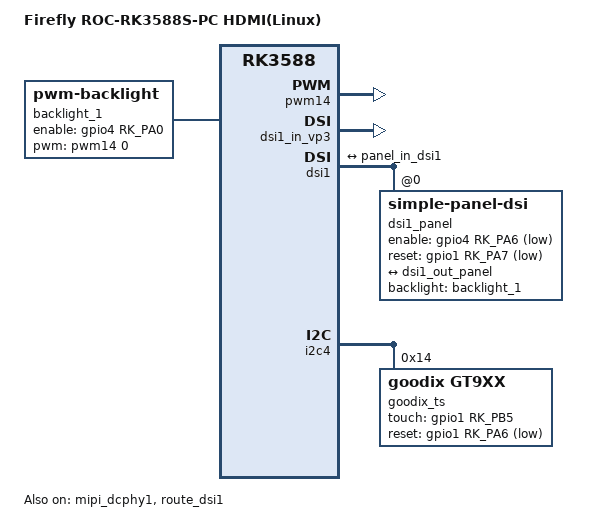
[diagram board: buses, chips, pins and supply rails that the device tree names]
// SPDX-License-Identifier: (GPL-2.0+ OR MIT)
/*
 * Copyright (c) 2021 Rockchip Electronics Co., Ltd.
 *
 */

/dts-v1/;

#include "roc-rk3588s-pc.dtsi"
#include "rk3588-roc-pc-cam-8ms1m.dtsi"
#define WHICHDSI 1 /* dsi0 = 0,dsi1 = 1*/

&fan {
    cooling-levels = <1 128 192 255>;
};


/ {
	model = "Firefly ROC-RK3588S-PC HDMI(Linux)";
	compatible = "rockchip,roc-rk3588s-pc", "rockchip,rk3588";

#if WHICHDSI     
    backlight_1: backlight-1 {
        status = "okay";
        compatible = "pwm-backlight";
        enable-gpios = <&gpio4 RK_PA0 GPIO_ACTIVE_HIGH>;
        pwms = <&pwm14 0 50000 1>;
        brightness-levels = <
             60  60  60  61  61  61  62  62
             62  63  63  63  64  64  64  65
             65  65  66  66  66  67  67  67
             68  68  68  69  69  69  70  70
             70  71  71  71  72  72  72  73
             73  73  74  74  74  75  75  75
             76  76  76  77  77  77  78  78
             78  79  79  79  80  80  80  81
             81  81  82  82  82  83  83  83
             84  84  84  85  85  85  86  86
             86  87  87  87  88  88  88  89
             89  89  90  91  92  93  94  95
             96  97  98  99 100 101 102 103
            104 105 106 107 108 109 110 111
            112 113 114 115 116 117 118 119
            120 121 122 123 124 125 126 127
            128 129 130 131 132 133 134 135
            136 137 138 139 140 141 142 143
            144 145 146 147 148 149 150 151
            152 153 154 155 156 157 158 159
            160 161 162 163 164 165 166 167
            168 169 170 171 172 173 174 175
            176 177 178 179 180 181 182 183
            184 185 186 187 188 189 190 191
            192 193 194 195 196 197 198 199
            200 201 202 203 204 205 206 207
            208 209 210 211 212 213 214 215
            216 217 218 219 220 221 222 223
            224 225 226 227 228 229 230 231
            232 233 234 235 236 237 238 239
            240 241 242 243 244 245 246 247
            248 249 250 251 252 253 254 255
        >;
        default-brightness-level = <150>;
    }; 

#else

    backlight: backlight {
        status = "okay";
        compatible = "pwm-backlight";
        enable-gpios = <&gpio3 RK_PD4 GPIO_ACTIVE_HIGH>;
        pwms = <&pwm14 0 50000 1>;
        brightness-levels = <
             60  60  60  61  61  61  62  62
             62  63  63  63  64  64  64  65
             65  65  66  66  66  67  67  67
             68  68  68  69  69  69  70  70
             70  71  71  71  72  72  72  73
             73  73  74  74  74  75  75  75
             76  76  76  77  77  77  78  78
             78  79  79  79  80  80  80  81
             81  81  82  82  82  83  83  83
             84  84  84  85  85  85  86  86
             86  87  87  87  88  88  88  89
             89  89  90  91  92  93  94  95
             96  97  98  99 100 101 102 103
            104 105 106 107 108 109 110 111
            112 113 114 115 116 117 118 119
            120 121 122 123 124 125 126 127
            128 129 130 131 132 133 134 135
            136 137 138 139 140 141 142 143
            144 145 146 147 148 149 150 151
            152 153 154 155 156 157 158 159
            160 161 162 163 164 165 166 167
            168 169 170 171 172 173 174 175
            176 177 178 179 180 181 182 183
            184 185 186 187 188 189 190 191
            192 193 194 195 196 197 198 199
            200 201 202 203 204 205 206 207
            208 209 210 211 212 213 214 215
            216 217 218 219 220 221 222 223
            224 225 226 227 228 229 230 231
            232 233 234 235 236 237 238 239
            240 241 242 243 244 245 246 247
            248 249 250 251 252 253 254 255
        >;
        default-brightness-level = <150>;
    };

#endif

};


#if WHICHDSI 

&pwm14 {
    pinctrl-0 = <&pwm14m1_pins>;
    status = "okay";
};

/*
 * mipi_dcphy1 needs to be enabled
 * when dsi1 is enabled
 */
&mipi_dcphy1 {
    status = "okay";
};

&dsi1_in_vp2 {
    status = "disabled";
};

&dsi1_in_vp3 {
    status = "okay";
};

&route_dsi1 {
    status = "okay";
	logo,rotate = <1>;
    connect = <&vp3_out_dsi1>;
};

&route_hdmi0{
    status = "disabled";
};

/*&lcd_rst{
	status = "okay";
	gpio = <&gpio4 RK_PA6 GPIO_ACTIVE_HIGH>;
};

&lcd_en{
	status = "okay";
	gpio = <&gpio4 RK_PA0 GPIO_ACTIVE_HIGH>;
};*/

&dsi1 {
    status = "okay";
    //rockchip,lane-rate = <1000>;
    dsi1_panel: panel@0 {
        status = "okay";
        compatible = "simple-panel-dsi";
        reg = <0>;
        backlight = <&backlight_1>;        

        enable-gpios = <&gpio4 RK_PA6 GPIO_ACTIVE_LOW>;
        reset-gpios = <&gpio1 RK_PA7 GPIO_ACTIVE_LOW>;

        enable-delay-ms = <50>;
        prepare-delay-ms = <200>;
        reset-delay-ms = <50>;
        init-delay-ms = <55>;
        unprepare-delay-ms = <50>;
        disable-delay-ms = <20>;
        mipi-data-delay-ms = <200>;
        size,width = <120>;
        size,height = <170>;
        dsi,flags = <(MIPI_DSI_MODE_VIDEO | MIPI_DSI_MODE_VIDEO_BURST | MIPI_DSI_MODE_LPM | MIPI_DSI_MODE_EOT_PACKET)>;
        dsi,format = <MIPI_DSI_FMT_RGB888>;
        dsi,lanes  = <2>;

        panel-init-sequence = [
			39 00 06 FF FF 98 06 04 01
			15 00 02 08 10
			15 00 02 20 00
			15 00 02 21 01
			15 00 02 30 01
			15 00 02 31 00
			15 00 02 40 16
			15 00 02 41 33
			15 00 02 42 03
			15 00 02 43 09
			15 00 02 44 06
			15 00 02 50 88
			15 00 02 51 88
			15 00 02 52 00
			15 00 02 53 49
			15 00 02 55 49
			15 00 02 60 07
			15 00 02 61 00
			15 00 02 62 07
			15 00 02 63 00
			15 00 02 A0 00
			15 00 02 A1 09
			15 00 02 A2 11
			15 00 02 A3 0B
			15 00 02 A4 05
			15 00 02 A5 08
			15 00 02 A6 06
			15 00 02 A7 04
			15 00 02 A8 09
			15 00 02 A9 0C
			15 00 02 AA 15
			15 00 02 AB 08
			15 00 02 AC 0F
			15 00 02 AD 12
			15 00 02 AE 09
			15 00 02 AF 00
			15 00 02 C0 00
			15 00 02 C1 09
			15 00 02 C2 10
			15 00 02 C3 0C
			15 00 02 C4 05
			15 00 02 C5 08
			15 00 02 C6 06
			15 00 02 C7 04
			15 00 02 C8 08
			15 00 02 C9 0C
			15 00 02 CA 14
			15 00 02 CB 08
			15 00 02 CC 0F
			15 00 02 CD 11
			15 00 02 CE 09
			15 00 02 CF 00
			39 00 06 FF FF 98 06 04 06
			15 00 02 00 20
			15 00 02 01 0A
			15 00 02 02 00
			15 00 02 03 00
			15 00 02 04 01
			15 00 02 05 01
			15 00 02 06 98
			15 00 02 07 06
			15 00 02 08 01
			15 00 02 09 80
			15 00 02 0A 00
			15 00 02 0B 00
			15 00 02 0C 01
			15 00 02 0D 01
			15 00 02 0E 05
			15 00 02 0F 00
			15 00 02 10 F0
			15 00 02 11 F4
			15 00 02 12 01
			15 00 02 13 00
			15 00 02 14 00
			15 00 02 15 C0
			15 00 02 16 08
			15 00 02 17 00
			15 00 02 18 00
			15 00 02 19 00
			15 00 02 1A 00
			15 00 02 1B 00
			15 00 02 1C 00
			15 00 02 1D 00
			15 00 02 20 01
			15 00 02 21 23
			15 00 02 22 45
			15 00 02 23 67
			15 00 02 24 01
			15 00 02 25 23
			15 00 02 26 45
			15 00 02 27 67
			15 00 02 30 11 
			15 00 02 31 11
			15 00 02 32 00
			15 00 02 33 EE
			15 00 02 34 FF
			15 00 02 35 BB
			15 00 02 36 AA
			15 00 02 37 DD
			15 00 02 38 CC
			15 00 02 39 66
			15 00 02 3A 77
			15 00 02 3B 22
			15 00 02 3C 22
			15 00 02 3D 22
			15 00 02 3E 22
			15 00 02 3F 22
			15 00 02 40 22
			39 00 06 FF FF 98 06 04 07
			15 00 02 17 22
			15 00 02 02 77
			15 00 02 26 B2
			39 00 06 FF FF 98 06 04 00
			05 00 01 35
			15 00 02 3A 70
			05 78 01 11
			05 19 01 29
        ];

        panel-exit-sequence = [
            05 00 01 28
            05 00 01 10
        ];

        disp_timings1: display-timings {
            native-mode = <&timing11>;
            timing11: timing11  {
                clock-frequency = <29000000>; //DCLK
                hactive = <480>;             //hactive
                vactive = <854>;              //vactive
                hfront-porch = <18>;         //hfp
                hback-porch = <30>;          //hbp
                hsync-len = <4>;             //hsa
                vfront-porch = <20>;          //vfp
                vsync-len = <4>;              //vsa
                vback-porch = <30>;           //vbp
                hsync-active = <0>;           //hync 极性控制 置 1 反转极性
                vsync-active = <0>;           //vsync 极性控制 置 1 反转极性
                de-active = <1>;              //DEN 极性控制
                pixelclk-active = <0>;        //dclk 极性控制
            };
        };

        ports {
            #address-cells = <1>;
            #size-cells = <0>;

            port@0 {
                reg = <0>;
                panel_in_dsi1: endpoint {
                    remote-endpoint = <&dsi1_out_panel>;
                };
            };
        };
    };

    ports {
        #address-cells = <1>;
        #size-cells = <0>;

        port@1 {
            reg = <1>;
            dsi1_out_panel: endpoint {
            remote-endpoint = <&panel_in_dsi1>;
            };
        };
    };
};

#else

&pwm14 {
    pinctrl-0 = <&pwm14m2_pins>;
    status = "okay";
};

/*
 * mipi_dcphy0 needs to be enabled
 * when dsi0 is enabled
 */
&mipi_dcphy0 {
    status = "okay";
};

&dsi0_in_vp2 {
    status = "okay";
};

&dsi0_in_vp3 {
    status = "disabled";
};

&route_dsi0 {
    status = "okay";
    connect = <&vp2_out_dsi0>;
};

&route_hdmi0{
    status = "disabled";
};

/*&lcd_rst {
	status = "okay";
	gpio = <&gpio1 RK_PA1 GPIO_ACTIVE_HIGH>;
};

&lcd_en {
	status = "okay";
	gpio = <&gpio1 RK_PB3 GPIO_ACTIVE_HIGH>;
};*/

&dsi0 {
    status = "okay";
    //rockchip,lane-rate = <1000>;
    dsi_panel: panel@0 {
        status = "okay";
        compatible = "simple-panel-dsi";
        reg = <0>;
        backlight = <&backlight>;
        
        enable-gpios = <&gpio1 RK_PB3 GPIO_ACTIVE_LOW>;
        //reset-gpios = <&gpio1 RK_PA1 GPIO_ACTIVE_LOW>;

        enable-delay-ms = <50>;
        prepare-delay-ms = <200>;
        reset-delay-ms = <50>;
        init-delay-ms = <55>;
        unprepare-delay-ms = <50>;
        disable-delay-ms = <20>;
        mipi-data-delay-ms = <200>;
        size,width = <120>;
        size,height = <170>;
        dsi,flags = <(MIPI_DSI_MODE_VIDEO | MIPI_DSI_MODE_VIDEO_BURST | MIPI_DSI_MODE_LPM | MIPI_DSI_MODE_EOT_PACKET)>;
        dsi,format = <MIPI_DSI_FMT_RGB888>;
        dsi,lanes  = <4>;

        panel-init-sequence = [
            15 00 02 80 ac
            15 00 02 81 b8
            15 00 02 82 09
            15 00 02 83 78
            15 00 02 84 7f
            15 00 02 85 bb
            15 00 02 86 70
        ];

        panel-exit-sequence = [
            05 00 01 28
            05 00 01 10
        ];

        disp_timings0: display-timings {
            native-mode = <&timing10>;
            timing10: timing10  {
               clock-frequency = <65000000>; //DCLK
               hactive = <1024>;             //hactive
               vactive = <600>;              //vactive
               hfront-porch = <160>;         //hfp
               hback-porch = <160>;          //hbp
               hsync-len = <10>;             //hsa
               vfront-porch = <12>;          //vfp
               vsync-len = <1>;              //vsa
               vback-porch = <23>;           //vbp
               hsync-active = <0>;           //hync 极性控制 置 1 反转极性
               vsync-active = <0>;           //vsync 极性控制 置 1 反转极性
               de-active = <1>;              //DEN 极性控制
               pixelclk-active = <0>;        //dclk 极性控制
           };
        };

        ports {
            #address-cells = <1>;
            #size-cells = <0>;

            port@0 {
                reg = <0>;
                panel_in_dsi: endpoint {
                    remote-endpoint = <&dsi_out_panel>;
                };
            };
        };
    };

    ports {
        #address-cells = <1>;
        #size-cells = <0>;

        port@1 {
            reg = <1>;
            dsi_out_panel: endpoint {
            remote-endpoint = <&panel_in_dsi>;
            };
        };
    };
};

#endif

&i2c4{
    status = "okay";
    pinctrl-names = "default";
    pinctrl-0 = <&i2c4m3_xfer>;

    goodix_ts@14 { //也可以写goodix_ts@14，这里的5d要与下面的reg=<0x5d>保持一致
       compatible = "goodix,gt9xx";
       reg = <0x14>;                                   //也可以填0x14
       touch-gpio = <&gpio1 RK_PB5 IRQ_TYPE_LEVEL_LOW>;   //中断IO
       reset-gpio = <&gpio1 RK_PA6 GPIO_ACTIVE_LOW>;   //复位IO
       max-x = <854>;                                 //x方向解析度
       max-y = <480>;                                  //y方向解析度
       tp-size = <911>;                                //TP尺寸
       status = "okay"; 
    };
};
